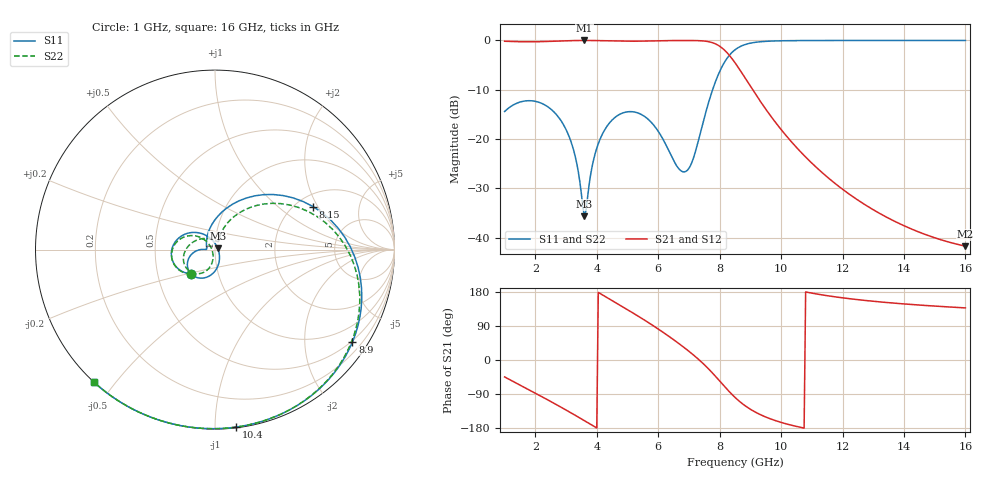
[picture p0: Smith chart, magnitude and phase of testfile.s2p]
! Sonnet Data File
! From: em Version : 18.56
! From Project: testfile
! Data is De-embedded
! Data File Written: 07/22/2026 17:35:59
! ->  Created by pysonnet 0.0.4
!< HDATE 07/22/2026 17:35:23
!< MDATE 07/22/2026 17:35:23
# GHZ S RI R 50.00000
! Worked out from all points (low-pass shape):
!   301 points, 1 GHz to 16 GHz, reference 50 ohm
!   highest |S21| = 0.00 dB at 3.6 GHz (marker M1); lowest = -41.7 dB at 16 GHz (marker M2)
!   |S21| within 3 dB of the highest: start of sweep to 8.314 GHz
!   lowest |S11| = -35.6 dB at 3.6 GHz (marker M3), VSWR 1.03, Z = 51.5 + j0.743 ohm
!   |S11| at or under -10 dB: start of sweep to 7.77 GHz
!   |S22| runs from -35.6 to 0.0 dB; largest |S21 - S12| = 1e-12
!   S11 on the Smith chart (normalised r, x): 1 GHz: 0.74, -0.21; 8.15 GHz: 2.44, +1.82; 8.9 GHz: 0.46, -3.22; 10.4 GHz: 0.00, -1.12; 16 GHz: 0.00, -0.44
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1  -0.135 -0.1344  0.698 -0.6903  0.698 -0.6903  -0.1329 -0.1365
1.85  -0.2428 -0.0327  0.1483 -0.9581  0.1483 -0.9581  -0.2414 -0.0422
2.65  -0.1596 0.0887  -0.4324 -0.883  -0.4324 -0.883  -0.168 0.0717
3.2  -0.043 0.0751  -0.7773 -0.6231  -0.7773 -0.6231  -0.064 0.0583
3.5  0.00478 0.0274  -0.909 -0.4158  -0.909 -0.4158  -0.0238 0.0143
3.6  0.0149 0.00721  -0.9406 -0.3391  -0.9406 -0.3391  -0.0161 -0.00397
3.95  0.0228 -0.0681  -0.9959 -0.0542  -0.9959 -0.0542  -0.0153 -0.0701
4.45  -0.0315 -0.147  -0.9242 0.3509  -0.9242 0.3509  -0.074 -0.1309
5.3  -0.1487 -0.1116  -0.4624 0.8669  -0.4624 0.8669  -0.1755 -0.0613
6  -0.1192 -0.016  0.1413 0.9826  0.1413 0.9826  -0.1098 0.0489
6.8  -0.0466 0.00303  0.8116 0.5822  0.8116 0.5822  0.0121 0.0451
7.05  -0.0478 0.0248  0.9397 0.3375  0.9397 0.3375  0.0211 0.0495
7.3  -0.0407 0.0851  0.9943 0.0459  0.9943 0.0459  0.0328 0.0884
7.7  0.0973 0.2528  0.8452 -0.4605  0.8452 -0.4605  0.1598 0.2188
8.15  0.5457 0.24  0.2871 -0.7496  0.2871 -0.7496  0.5664 0.1859
8.5  0.7977 -0.1004  -0.0894 -0.5878  -0.0894 -0.5878  0.7915 -0.1413
8.9  0.7657 -0.5153  -0.2191 -0.3163  -0.2191 -0.3163  0.7514 -0.536
9.5  0.4878 -0.8493  -0.1753 -0.0994  -0.1753 -0.0994  0.478 -0.8549
10.4  0.1168 -0.9891  -0.0887 -0.0103  -0.0887 -0.0103  0.1136 -0.9895
11  -0.0613 -0.9965  -0.0571 0.00354  -0.0571 0.00354  -0.0623 -0.9964
13.5  -0.481 -0.8766  -0.0138 0.00759  -0.0138 0.00759  -0.4798 -0.8772
16  -0.6766 -0.7363  -0.00606 0.00556  -0.00606 0.00556  -0.6753 -0.7375
